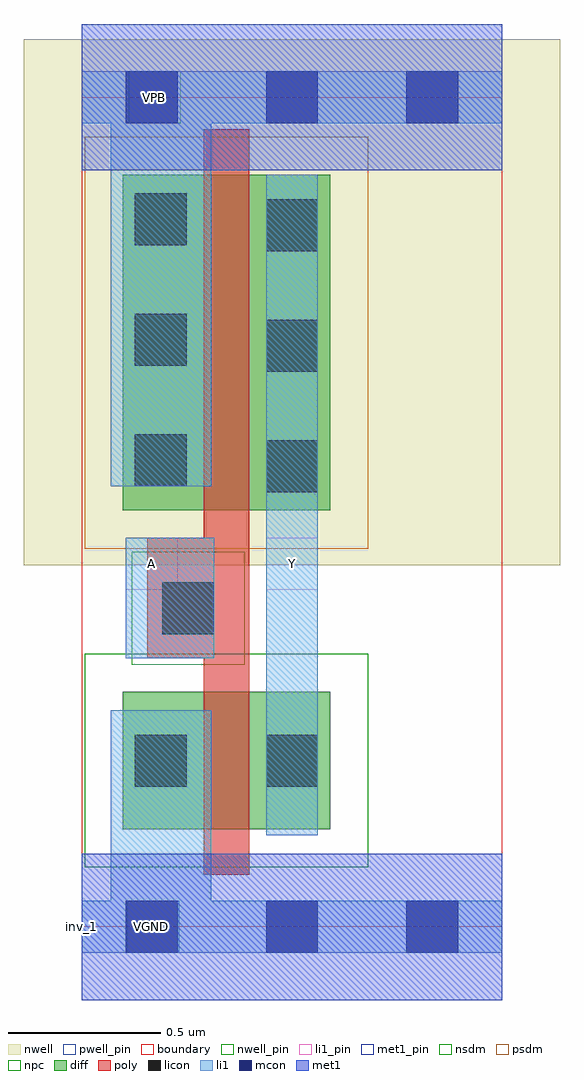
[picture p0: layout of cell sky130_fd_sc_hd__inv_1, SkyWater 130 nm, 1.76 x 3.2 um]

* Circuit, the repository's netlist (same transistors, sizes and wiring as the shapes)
* NGSPICE file created from sky130_fd_sc_hd__inv_1.ext - technology: sky130A

.subckt sky130_fd_sc_hd__inv_1 A VGND VNB VPB VPWR Y
X0 Y A VPWR VPB sky130_fd_pr__pfet_01v8 ad=0.2915 pd=2.73 as=0.2915 ps=2.73 w=1.1 l=0.15
X1 Y A VGND VNB sky130_fd_pr__nfet_01v8 ad=0.11925 pd=1.43 as=0.11925 ps=1.43 w=0.45 l=0.15
.ends

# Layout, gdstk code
import gdstk
lib = gdstk.Library(unit=1e-6, precision=1e-09)
def R(c, l, rs):  # rectangles x0, y0, x1, y1
    for r in rs: c.add(gdstk.rectangle(r[:2], r[2:], *l))
def A(c, l, x, y, w, h, nx, ny, dx, dy):  # array of equal rectangles
    R(c, l, [(x+i*dx, y+j*dy, x+i*dx+w, y+j*dy+h) for i in range(nx) for j in range(ny)])
nwell_pin = (64, 16)
nwell = (64, 20)
diff = (65, 20)
poly = (66, 20)
licon = (66, 44)
li1_pin = (67, 16)
li1 = (67, 20)
mcon = (67, 44)
met1_pin = (68, 16)
met1 = (68, 20)
nsdm = (93, 44)
psdm = (94, 20)
npc = (95, 20)
pwell_pin = (122, 16)
boundary = (235, 4)

sky130_fd_sc_hd__inv_1 = lib.new_cell('sky130_fd_sc_hd__inv_1')
R(sky130_fd_sc_hd__inv_1, nwell_pin, [(0.155,2.635,0.325,2.805)])
R(sky130_fd_sc_hd__inv_1, nwell, [(-0.19,1.185,1.57,2.91)])
R(sky130_fd_sc_hd__inv_1, diff, [(0.135,0.32,0.815,0.77), (0.135,1.365,0.815,2.465)])
R(sky130_fd_sc_hd__inv_1, poly, [(0.4,0.17,0.55,0.88), (0.215,0.88,0.55,1.275), (0.4,1.275,0.55,2.615)])
A(sky130_fd_sc_hd__inv_1, licon, 0.605, 1.425, 0.17, 0.17, 1, 3, 0, 0.395)
A(sky130_fd_sc_hd__inv_1, licon, 0.175, 1.445, 0.17, 0.17, 1, 3, 0, 0.395)
R(sky130_fd_sc_hd__inv_1, licon, [(0.175,0.46,0.345,0.63), (0.605,0.46,0.775,0.63), (0.265,0.96,0.435,1.13)])
R(sky130_fd_sc_hd__inv_1, li1_pin, [(0.145,1.105,0.315,1.275), (0.605,1.105,0.775,1.275)])
R(sky130_fd_sc_hd__inv_1, li1, [(0,-0.085,1.38,0.085), (0.095,0.085,0.425,0.71), (0.605,0.3,0.775,2.465), (0.145,0.88,0.435,1.275), (0.095,1.445,0.425,2.635), (0,2.635,1.38,2.805)])
A(sky130_fd_sc_hd__inv_1, mcon, 0.145, -0.085, 0.17, 0.17, 3, 2, 0.46, 2.72)
R(sky130_fd_sc_hd__inv_1, met1_pin, [(0.145,-0.085,0.315,0.085), (0.145,2.635,0.315,2.805)])
R(sky130_fd_sc_hd__inv_1, met1, [(0,-0.24,1.38,0.24), (0,2.48,1.38,2.96)])
R(sky130_fd_sc_hd__inv_1, nsdm, [(0.01,0.195,0.94,0.895)])
R(sky130_fd_sc_hd__inv_1, psdm, [(0.01,1.24,0.94,2.59)])
R(sky130_fd_sc_hd__inv_1, npc, [(0.165,0.86,0.535,1.23)])
R(sky130_fd_sc_hd__inv_1, pwell_pin, [(0.15,-0.085,0.32,0.085)])
R(sky130_fd_sc_hd__inv_1, boundary, [(0,0,1.38,2.72)])
sky130_fd_sc_hd__inv_1.add(gdstk.Label('inv_1', (0,0), layer=68, texttype=5))
sky130_fd_sc_hd__inv_1.add(gdstk.Label('A', (0.23,1.19), layer=67, texttype=5))
sky130_fd_sc_hd__inv_1.add(gdstk.Label('VGND', (0.23,0), layer=68, texttype=5))
sky130_fd_sc_hd__inv_1.add(gdstk.Label('VNB', (0.235,0), layer=64, texttype=59))
sky130_fd_sc_hd__inv_1.add(gdstk.Label('VPB', (0.24,2.72), layer=64, texttype=5))
sky130_fd_sc_hd__inv_1.add(gdstk.Label('VPWR', (0.23,2.72), layer=68, texttype=5))
sky130_fd_sc_hd__inv_1.add(gdstk.Label('Y', (0.69,1.19), layer=67, texttype=5))

lib.write_gds('sky130_fd_sc_hd__inv_1.gds')
